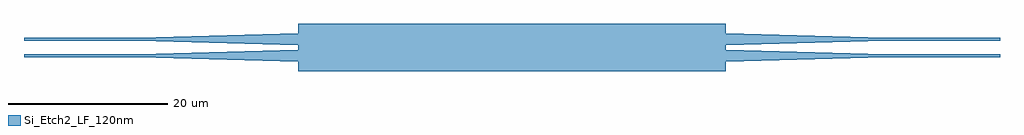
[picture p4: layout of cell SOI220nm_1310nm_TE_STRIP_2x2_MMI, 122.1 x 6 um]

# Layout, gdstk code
import gdstk
lib = gdstk.Library(unit=1e-6, precision=1e-09)
def R(c, l, rs):  # rectangles x0, y0, x1, y1
    for r in rs: c.add(gdstk.rectangle(r[:2], r[2:], *l))
def P(c, l, *ps):  # polygons
    for p in ps: c.add(gdstk.Polygon(p, *l))
Si_Etch2_LF_120nm = (3, 0)

soi220nm_1310nm_te_strip = lib.new_cell('SOI220nm_1310nm_TE_STRIP_2x2_MMI')
R(soi220nm_1310nm_te_strip, Si_Etch2_LF_120nm, [(-26.75,-3,26.75,3), (-61.05,-1.215,-46.75,-0.815), (46.75,-1.215,61.05,-0.815), (-61.05,0.815,-46.75,1.215), (46.75,0.815,61.05,1.215)])
P(soi220nm_1310nm_te_strip, Si_Etch2_LF_120nm, [(-26.75,-1.765),(-46.75,-1.215),(-46.75,-0.815),(-26.75,-0.265)],
  [(-26.75,0.265),(-46.75,0.815),(-46.75,1.215),(-26.75,1.765)],
  [(26.75,-1.765),(26.75,-0.265),(46.75,-0.815),(46.75,-1.215)],
  [(26.75,0.265),(26.75,1.765),(46.75,1.215),(46.75,0.815)])

lib.write_gds('SOI220nm_1310nm_TE_STRIP_2x2_MMI.gds')
